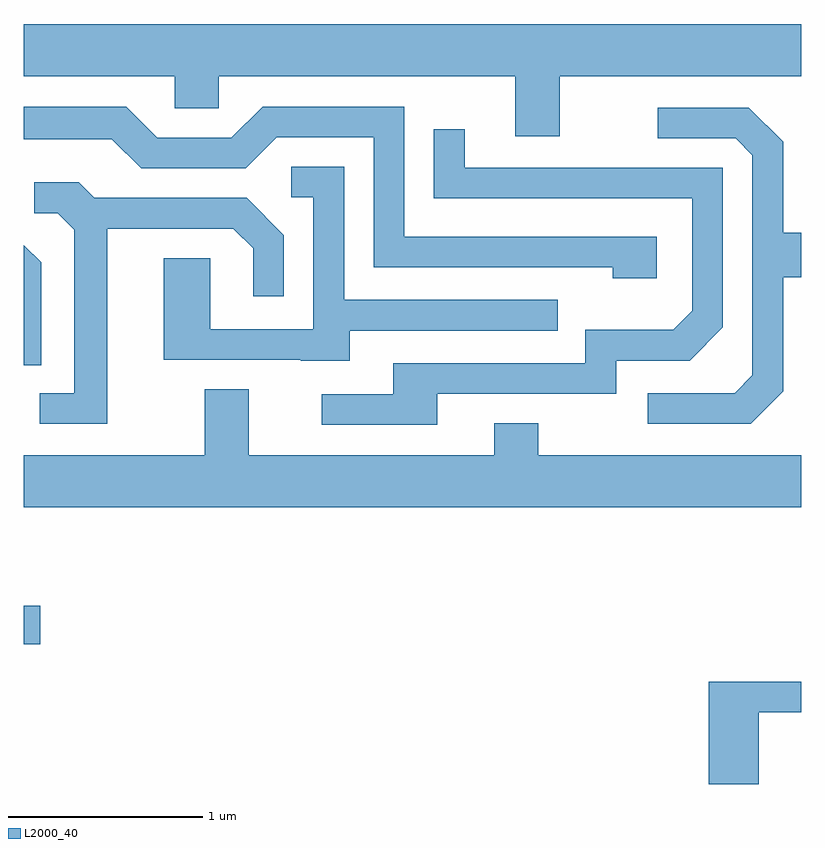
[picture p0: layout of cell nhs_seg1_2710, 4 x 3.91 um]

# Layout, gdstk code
import gdstk
lib = gdstk.Library(unit=1e-6, precision=1e-09)
def R(c, l, rs):  # rectangles x0, y0, x1, y1
    for r in rs: c.add(gdstk.rectangle(r[:2], r[2:], *l))
def P(c, l, *ps):  # polygons
    for p in ps: c.add(gdstk.Polygon(p, *l))
L2000_40 = (2000, 40)

nhs_seg1_2710 = lib.new_cell('nhs_seg1_2710')
R(nhs_seg1_2710, L2000_40, [(267.611,894.431,267.694,894.629)])
P(nhs_seg1_2710, L2000_40, [(270.369,897.356),(271.611,897.356),(271.611,897.624),(267.611,897.624),(267.611,897.356),(268.386,897.356),(268.386,897.191),(268.614,897.191),(268.614,897.356),(270.141,897.356),(270.141,897.046),(270.369,897.046)],
  [(270.869,896.529),(269.569,896.529),(269.569,897.199),(268.839,897.199),(268.679,897.039),(268.297,897.039),(268.137,897.199),(267.611,897.199),(267.611,897.031),(268.064,897.031),(268.214,896.881),(268.752,896.881),(268.912,897.041),(269.411,897.041),(269.411,896.371),(270.641,896.371),(270.641,896.316),(270.869,896.316)],
  [(271.519,895.734),(271.519,896.321),(271.611,896.321),(271.611,896.549),(271.519,896.549),(271.519,897.017),(271.342,897.194),(270.873,897.194),(270.873,897.036),(271.274,897.036),(271.361,896.949),(271.361,895.817),(271.269,895.724),(270.823,895.724),(270.823,895.566),(271.352,895.566)],
  [(269.739,895.721),(270.659,895.721),(270.659,895.891),(271.037,895.891),(271.209,896.064),(271.209,896.884),(269.879,896.884),(269.879,897.083),(269.721,897.083),(269.721,896.726),(271.051,896.726),(271.051,896.147),(270.954,896.049),(270.501,896.049),(270.501,895.879),(269.511,895.879),(269.511,895.719),(269.143,895.719),(269.143,895.561),(269.739,895.561)],
  [(269.289,896.046),(270.358,896.046),(270.358,896.204),(269.259,896.204),(269.259,896.889),(268.988,896.889),(268.988,896.731),(269.101,896.731),(269.101,896.054),(268.569,896.054),(268.569,896.419),(268.331,896.419),(268.331,895.896),(269.035,895.896),(269.035,895.891),(269.289,895.891)],
  [(268.039,896.571),(268.689,896.571),(268.791,896.469),(268.791,896.223),(268.949,896.223),(268.949,896.537),(268.757,896.729),(267.972,896.729),(267.892,896.809),(267.663,896.809),(267.663,896.651),(267.784,896.651),(267.871,896.564),(267.871,895.724),(267.693,895.724),(267.693,895.566),(268.039,895.566)],
  [(267.699,896.397),(267.611,896.485),(267.611,895.868),(267.699,895.868)],
  [(271.611,895.404),(270.259,895.404),(270.259,895.569),(270.031,895.569),(270.031,895.404),(268.769,895.404),(268.769,895.744),(268.541,895.744),(268.541,895.404),(267.611,895.404),(267.611,895.136),(271.611,895.136)],
  [(271.394,894.081),(271.611,894.081),(271.611,894.239),(271.136,894.239),(271.136,893.712),(271.394,893.712)])

lib.write_gds('nhs_seg1_2710.gds')
